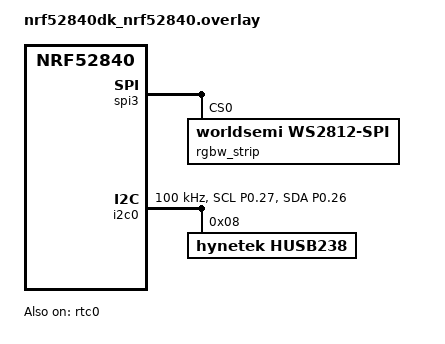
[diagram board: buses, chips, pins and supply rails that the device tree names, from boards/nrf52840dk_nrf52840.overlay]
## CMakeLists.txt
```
cmake_minimum_required(VERSION 3.20.0)

list(APPEND EXTRA_ZEPHYR_MODULES
  ${CMAKE_CURRENT_SOURCE_DIR}/../custom_sk6812
  ${CMAKE_CURRENT_SOURCE_DIR}/../husb238
)

find_package(Zephyr REQUIRED HINTS $ENV{ZEPHYR_BASE})

project(app LANGUAGES C)

target_sources(app PRIVATE src/main.c src/led_strip_service.c src/led_anim_thread.c)
zephyr_library_include_directories(.)
```

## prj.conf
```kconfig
CONFIG_GPIO=y
CONFIG_SPI=y
CONFIG_LOG=y
CONFIG_I2C=y
# CONFIG_LED_STRIP=y
CONFIG_RGBW_STRIP=y
# CONFIG_LED_STRIP_LOG_LEVEL_DBG=y

# Button and LED library
CONFIG_DK_LIBRARY=y

# Floating Point Unit
CONFIG_FPU=y

# Bluetooth LE
CONFIG_BT=y
CONFIG_BT_PERIPHERAL=y
CONFIG_BT_DEVICE_NAME="test123"
CONFIG_BT_GATT_CLIENT=y

# Bluetooth Connection Parameters
CONFIG_BT_PERIPHERAL_PREF_MIN_INT=800
CONFIG_BT_PERIPHERAL_PREF_MAX_INT=800
CONFIG_BT_PERIPHERAL_PREF_LATENCY=0
CONFIG_BT_PERIPHERAL_PREF_TIMEOUT=400
CONFIG_BT_GAP_AUTO_UPDATE_CONN_PARAMS=y
CONFIG_BT_USER_PHY_UPDATE=y

# Bluetooth LE Monitor Mode Debugging
CONFIG_CORTEX_M_DEBUG_MONITOR_HOOK=y
CONFIG_SEGGER_DEBUGMON=y

# Coredump config
CONFIG_DEBUG_COREDUMP=y
CONFIG_DEBUG_COREDUMP_BACKEND_LOGGING=y

# Add LBS service
CONFIG_BT_LBS=y

# Increase stack size for the main thread, System Workqueue, BT RX thread and TX buf count
CONFIG_MAIN_STACK_SIZE=4096
CONFIG_SYSTEM_WORKQUEUE_STACK_SIZE=4096
CONFIG_BT_RX_STACK_SIZE=2048
CONFIG_BT_BUF_CMD_TX_COUNT=2


# Enable **psuedorandom** number generator for testing purposes
CONFIG_TEST_RANDOM_GENERATOR=y
```

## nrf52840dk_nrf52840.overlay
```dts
// To get started, press Ctrl+Space to bring up the completion menu and view the available nodes.

// You can also use the buttons in the sidebar to perform actions on nodes.
// Actions currently available include:

// * Enabling / disabling the node
// * Adding the bus to a bus
// * Removing the node
// * Connecting ADC channels

// For more help, browse the DeviceTree documentation at https://docs.zephyrproject.org/latest/guides/dts/index.html
// You can also visit the nRF DeviceTree extension documentation at https://docs.nordicsemi.com/bundle/nrf-connect-vscode/page/guides/ncs_configure_app.html#devicetree-support-in-the-extension

#include <zephyr/dt-bindings/led/led.h>

#include "nrf_bindings.h"

&spi0 {
	// led_strip: ws2812-spi@0 {
	// 	compatible = "worldsemi,ws2812-spi";

    //     /* SPI */
	// 	reg = <0>; /* ignored, but necessary for SPI bindings */
	// 	spi-max-frequency = <SPI_FREQ>;

	// 	/* WS2812 */
	// 	chain-length = <16>; /* arbitrary; change at will */
	// 	spi-one-frame = <ONE_FRAME>;    //  dependent on SPI frequency
	// 	spi-zero-frame = <ZERO_FRAME>;  // and desired duty cycle

    //     // Define subpixel layout of RGB LED, typically GRB
    //     // Allows for application to only send RGB values, and have devicetree implementation
    //     //  figure out subpixel layout separately  
    //     color-mapping = <LED_COLOR_ID_GREEN 
    //         LED_COLOR_ID_RED
    //         LED_COLOR_ID_BLUE>;
	// };

    // rgbw_strip: ws2812-spi@0 {
    //     compatible = "worldsemi,ws2812-spi";

    //     reg = <0>;
    //     spi-max-frequency = <SPI_FREQ>;

    //     /* SK6812 */
    //     chain-length = <72>;
    //     spi-one-frame = <ONE_FRAME>;
    //     spi-zero-frame = <ZERO_FRAME>;

    //     /* Subpixel layout of SK6812 */
    //     color-mapping = <LED_COLOR_ID_GREEN
    //                      LED_COLOR_ID_RED
    //                      LED_COLOR_ID_BLUE
    //                      LED_COLOR_ID_WHITE>;
    // };

	status = "disabled";    // Enable SPI device
};

/ {
    aliases 
    {
        rgbw-strip = &rgbw_strip;
    };
};
&spi1 {
	status = "disabled";
};

&spi3 {
    rgbw_strip: ws2812-spi@0 {
        compatible = "worldsemi,ws2812-spi";

        reg = <0>;
        spi-max-frequency = <SPI_FREQ>;

        /* SK6812 */
        chain-length = <72>;
        spi-one-frame = <ONE_FRAME>;
        spi-zero-frame = <ZERO_FRAME>;

        /* Subpixel layout of SK6812 */
        color-mapping = <LED_COLOR_ID_GREEN
                         LED_COLOR_ID_RED
                         LED_COLOR_ID_BLUE
                         LED_COLOR_ID_WHITE>;
    };

	status = "okay";
};

&rtc0 {
    status = "okay";
};
```

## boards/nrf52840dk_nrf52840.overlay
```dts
// To get started, press Ctrl+Space to bring up the completion menu and view the available nodes.

// You can also use the buttons in the sidebar to perform actions on nodes.
// Actions currently available include:

// * Enabling / disabling the node
// * Adding the bus to a bus
// * Removing the node
// * Connecting ADC channels

// For more help, browse the DeviceTree documentation at https://docs.zephyrproject.org/latest/guides/dts/index.html
// You can also visit the nRF DeviceTree extension documentation at https://docs.nordicsemi.com/bundle/nrf-connect-vscode/page/guides/ncs_configure_app.html#devicetree-support-in-the-extension

#include <zephyr/dt-bindings/led/led.h>

#include "nrf_bindings.h"

&spi0 {
	// led_strip: ws2812-spi@0 {
	// 	compatible = "worldsemi,ws2812-spi";

    //     /* SPI */
	// 	reg = <0>; /* ignored, but necessary for SPI bindings */
	// 	spi-max-frequency = <SPI_FREQ>;

	// 	/* WS2812 */
	// 	chain-length = <16>; /* arbitrary; change at will */
	// 	spi-one-frame = <ONE_FRAME>;    //  dependent on SPI frequency
	// 	spi-zero-frame = <ZERO_FRAME>;  // and desired duty cycle

    //     // Define subpixel layout of RGB LED, typically GRB
    //     // Allows for application to only send RGB values, and have devicetree implementation
    //     //  figure out subpixel layout separately  
    //     color-mapping = <LED_COLOR_ID_GREEN 
    //         LED_COLOR_ID_RED
    //         LED_COLOR_ID_BLUE>;
	// };

    // rgbw_strip: ws2812-spi@0 {
    //     compatible = "worldsemi,ws2812-spi";

    //     reg = <0>;
    //     spi-max-frequency = <SPI_FREQ>;

    //     /* SK6812 */
    //     chain-length = <72>;
    //     spi-one-frame = <ONE_FRAME>;
    //     spi-zero-frame = <ZERO_FRAME>;

    //     /* Subpixel layout of SK6812 */
    //     color-mapping = <LED_COLOR_ID_GREEN
    //                      LED_COLOR_ID_RED
    //                      LED_COLOR_ID_BLUE
    //                      LED_COLOR_ID_WHITE>;
    // };

	status = "disabled";    // Enable SPI device
};

/ {
    aliases 
    {
        rgbw-strip = &rgbw_strip;
    };
};
&spi1 {
	status = "disabled";
};

&spi3 {
    rgbw_strip: ws2812-spi@0 {
        compatible = "worldsemi,ws2812-spi";

        reg = <0>;
        spi-max-frequency = <SPI_FREQ>;

        /* SK6812 */
        chain-length = <72>;
        spi-one-frame = <ONE_FRAME>;
        spi-zero-frame = <ZERO_FRAME>;

        /* Subpixel layout of SK6812 */
        color-mapping = <LED_COLOR_ID_GREEN
                         LED_COLOR_ID_RED
                         LED_COLOR_ID_BLUE
                         LED_COLOR_ID_WHITE>;
    };

	status = "okay";
};

&rtc0 {
    status = "okay";
};

&i2c0 {
    status = "okay";
    compatible = "nordic,nrf-twim";

    pinctrl-0 = <&i2c0_default>;
    pinctrl-1 = <&i2c0_sleep>;
    pinctrl-names = "default", "sleep";

    husb238: husb238@8 {
        compatible = "hynetek,husb238";
        status = "okay";
        reg = <0x8>;
    };

    clock-frequency = <I2C_BITRATE_STANDARD>;
};

&pinctrl {
	/omit-if-no-ref/ i2c0_default: i2c0_default {

        group2 {
            psels = <NRF_PSEL(TWIM_SCL, 0, 27)>;
            bias-pull-up;
            nordic,invert;
        };

        group1 {
            psels = <NRF_PSEL(TWIM_SDA, 0, 26)>;
            nordic,invert;
            bias-pull-up;
        };
	};

	/omit-if-no-ref/ i2c0_sleep: i2c0_sleep {
		group1  {
			psels = <NRF_PSEL(TWIM_SCL, 0, 27)>;
			bias-pull-up;
            nordic,invert;
			low-power-enable;
		};

		group2 {
            psels = <NRF_PSEL(TWIM_SDA, 0, 26)>;
            bias-pull-up;
            nordic,invert;
			low-power-enable;
        };
	};
};
```

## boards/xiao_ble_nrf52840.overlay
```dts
#include <zephyr/dt-bindings/led/led.h>
#include "nrf_bindings.h"

&spi2 {
	status = "okay";    // Enable SPI device
	compatible = "nordic,nrf-spim"; // Use SPIM driver for EasyDMA

	rgbw_strip: ws2812-spi@0 {
		compatible = "worldsemi,ws2812-spi";

		reg = <0>;
		spi-max-frequency = <SPI_FREQ>;

		/* SK6812 */
		chain-length = <72>;
		spi-one-frame = <ONE_FRAME>;
		spi-zero-frame = <ZERO_FRAME>;

		/* Subpixel layout of SK6812 */
		color-mapping = <LED_COLOR_ID_GREEN
				 LED_COLOR_ID_RED
				 LED_COLOR_ID_BLUE
				 LED_COLOR_ID_WHITE>;
	};
};


/ {
	aliases {
		rgbw-strip = &rgbw_strip;
	};
};

&rtc0 {
	status = "okay";
};

&i2c1 {
	status = "okay";
	compatible = "nordic,nrf-twim";

	husb238: husb238@8 {
		compatible = "hynetek,husb238";
		status = "okay";
		reg = <0x8>;
	};

	clock-frequency = <I2C_BITRATE_STANDARD>;
};

&qspi {
	status = "disabled";
};

&ieee802154 {
	status = "disabled";
};

&reg0 {
	status = "disabled";
};

&pwm0 {
	status = "disabled";
};
```

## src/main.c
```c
#include <errno.h>
#include <string.h>

#define LOG_LEVEL 4
#include <zephyr/logging/log.h>
LOG_MODULE_REGISTER(main);

#include <rgbw_strip.h>				// RGBW strip driver
#include <husb238.h>                
// #include <zephyr/drivers/led_strip.h>
#include <zephyr/device.h>
#include <zephyr/drivers/spi.h>
#include <zephyr/drivers/i2c.h>
#include <zephyr/sys/util.h>

#include <zephyr/bluetooth/bluetooth.h>
#include <zephyr/bluetooth/uuid.h>
#include <zephyr/bluetooth/conn.h>	// BLE connections
#include <zephyr/random/random.h>
#include <zephyr/debug/coredump.h>

#include <bluetooth/services/lbs.h> // LED button service


#include <dk_buttons_and_leds.h>
#include "led_strip_service.h"
#include "led_anim_thread.h"

#define USER_BUTTON				DK_BTN1_MSK
#define CONNECTION_STATUS_LED   DK_LED2

#define DELAY_TIME K_MSEC(1000)

static const struct i2c_dt_spec husb238_i2c = I2C_DT_SPEC_GET(DT_NODELABEL(husb238));

struct bt_conn *my_conn = NULL;
static struct k_work adv_work;

extern struct k_msgq led_message_queue; 

extern bool no_white_component;
extern bool dither_enabled;

// static int index;

static const struct bt_le_adv_param *adv_param = BT_LE_ADV_PARAM(
	(BT_LE_ADV_OPT_CONN |
	 BT_LE_ADV_OPT_USE_IDENTITY), /* Connectable advertising and use identity address */
	BT_GAP_ADV_FAST_INT_MIN_1, /* 0x30 units, 48 units, 30ms */
	BT_GAP_ADV_FAST_INT_MAX_1, /* 0x60 units, 96 units, 60ms */
	NULL); /* Set to NULL for undirected advertising */

#define DEVICE_NAME CONFIG_BT_DEVICE_NAME
#define DEVICE_NAME_LEN (sizeof(DEVICE_NAME) - 1)

static const struct bt_data ad[] = {
	BT_DATA_BYTES(BT_DATA_FLAGS, (BT_LE_AD_GENERAL | BT_LE_AD_NO_BREDR)),
	BT_DATA(BT_DATA_NAME_COMPLETE, DEVICE_NAME, DEVICE_NAME_LEN),
};

static const struct bt_data sd[] = {
	BT_DATA_BYTES(BT_DATA_UUID128_ALL,
			  BT_UUID_128_ENCODE(0x00001523, 0x1212, 0xefde, 0x1523, 0x785feabcd123)),
};

static void adv_work_handler(struct k_work *work)
{
	int err = bt_le_adv_start(adv_param, ad, ARRAY_SIZE(ad), sd, ARRAY_SIZE(sd));

	if (err) {
		LOG_ERR("Advertising failed to start (err %d)", err);
		return;
	}

	LOG_INF("Advertising successfully started");
}

static void advertising_start(void)
{
	k_work_submit(&adv_work);
}

static void fade_color(const led_rgbw *new_color, const uint32_t duration)
{
	k_msgq_put(&led_message_queue, &(struct led_msg){
		.new_rgbw = *new_color,
		.params = LED_PARAM_COLOR | LED_PARAM_DURATION,
		.command = FADE,
		.duration = duration,
	}, K_NO_WAIT);
}

static void set_color_rgbw(const led_rgbw *new_color)
{
	k_msgq_put(&led_message_queue, &(struct led_msg){
		.new_rgbw = *new_color,
		.params = LED_PARAM_COLOR,
		.command = SET,
		// .duration = 10000,
	}, K_NO_WAIT);
}

static void set_brightness(const uint8_t *new_brightness)
{
	k_msgq_put(&led_message_queue, &(struct led_msg){
		.new_brightness = *new_brightness,
		.params = LED_PARAM_BRIGHTNESS,
		.command = SET,
	}, K_NO_WAIT);
}

static void update_phy(struct bt_conn *conn)
{
    int err;
    const struct bt_conn_le_phy_param preferred_phy = {
        .options = BT_CONN_LE_PHY_OPT_NONE,
        .pref_rx_phy = BT_GAP_LE_PHY_2M,
        .pref_tx_phy = BT_GAP_LE_PHY_2M,
    };
    err = bt_conn_le_phy_update(conn, &preferred_phy);
    if (err) {
        LOG_ERR("bt_conn_le_phy_update() returned %d", err);
    }
}

void on_connected(struct bt_conn *conn, uint8_t err)
{
	if (err) {
		LOG_ERR("Connection error %d", err);
		return;
	}

	LOG_INF("Connected");
	my_conn = bt_conn_ref(conn);

	dk_set_led(CONNECTION_STATUS_LED, 1);

	struct bt_conn_info info;
	err = bt_conn_get_info(conn, &info);
	if (err) {
		LOG_ERR("bt_conn_get_info() returned %d", err);
		return;
	}

	double connection_interval = BT_CONN_INTERVAL_TO_MS(info.le.interval); // in ms
	uint16_t supervision_timeout = info.le.timeout*10; // in ms
	LOG_INF("Connection parameters: interval %.2f ms, latency %d intervals, timeout %d ms", connection_interval, info.le.latency, supervision_timeout);
	
	update_phy(my_conn);
}

void on_disconnected(struct bt_conn *conn, uint8_t reason)
{
	LOG_INF("Disconnected. Reason %d", reason);
	bt_conn_unref(my_conn);

	/* STEP 3.3  Turn the connection status LED off */
	dk_set_led(CONNECTION_STATUS_LED, 0);
}

void on_recycled(void)
{
	advertising_start();
}

void on_le_param_updated(struct bt_conn *conn, uint16_t interval,
				 uint16_t latency, uint16_t timeout)
{
    double connection_interval = interval*1.25;         // in ms
    uint16_t supervision_timeout = timeout*10;          // in ms
    LOG_INF("Connection parameters updated: interval %.2f ms, latency %d intervals, timeout %d ms", connection_interval, latency, supervision_timeout);
}

void on_le_phy_updated(struct bt_conn *conn, struct bt_conn_le_phy_info *param)
{
    // PHY Updated
    if (param->tx_phy == BT_CONN_LE_TX_POWER_PHY_1M) {
        LOG_INF("PHY updated. New PHY: 1M");
    }
    else if (param->tx_phy == BT_CONN_LE_TX_POWER_PHY_2M) {
        LOG_INF("PHY updated. New PHY: 2M");
    }
    else if (param->tx_phy == BT_CONN_LE_TX_POWER_PHY_CODED_S8) {
        LOG_INF("PHY updated. New PHY: Long Range");
    }
}

/* BLE connection callbacks*/
struct bt_conn_cb connection_callbacks = {
    .connected              = on_connected,
    .disconnected           = on_disconnected,
    .recycled               = on_recycled,
	.le_param_updated       = on_le_param_updated,
	.le_phy_updated         = on_le_phy_updated,
};

struct my_lss_cb lss_callbacks = {
	.fade_cb = fade_color,
	.color_cb = set_color_rgbw,
	.brightness_cb = set_brightness,
};

/* Callback handler for when button is pressed*/
static void button_changed(uint32_t button_state, uint32_t has_changed)
{
	int err;
	bool user_button_changed = (has_changed & USER_BUTTON) ? true : false;
	bool user_button_pressed = (button_state & USER_BUTTON) ? true : false;
	if (user_button_changed) {
		LOG_INF("Button %s", (user_button_pressed ? "pressed" : "released"));
		if (user_button_pressed)
		{
			k_msgq_put(&led_message_queue, &(struct led_msg){
				.new_rgbw = (led_rgbw){
					.r = sys_rand8_get(),
					.g = sys_rand8_get(),
					.b = sys_rand8_get(),
					.w = sys_rand8_get(),
				},
				.command = FADE,
				.params = LED_PARAM_COLOR | LED_PARAM_DURATION,
				.duration = 1000
			}, K_NO_WAIT);
		}		
		err = bt_lbs_send_button_state(user_button_pressed);
		if (err) {
			LOG_ERR("Couldn't send notification. (err: %d)", err);
		}
	}

	if (button_state & DK_BTN2_MSK)
	{
		// no_white_component = !no_white_component; // Toggle white component on/off with second button
		// dither_enabled = !dither_enabled; // Toggle dithering on/off with second button
		// LOG_INF("Dithering %s", (dither_enabled ? "enabled" : "disabled"));
		// k_msgq_put(&led_message_queue, &(struct led_msg){
		// 	.new_brightness = 0x7f,
		// 	.params = LED_PARAM_BRIGHTNESS,
		// 	.command = SET,
		// }, K_FOREVER);
		// static uint8_t src_pdos[6];
		// husb238_get_src_capabilities(&husb238_i2c, src_pdos, 6);
		// husb238_print_src_capabilities(src_pdos, 6);
	}

	if (button_state & DK_BTN3_MSK) // If button state changed and button is now released, toggle white component on/off
	{
		// switch (index)
		// {
		// 	case 0:
		// 		set_color_rgbw(&(led_rgbw){.r = 0xff, .g = 0x00, .b = 0x00, .w = 0x00});
		// 		break;
		// 	case 1:
		// 		set_color_rgbw(&(led_rgbw){.r = 0x00, .g = 0xff, .b = 0x00, .w = 0x00});
		// 		break;
		// 	case 2:
		// 		set_color_rgbw(&(led_rgbw){.r = 0x00, .g = 0x00, .b = 0xff, .w = 0x00});
		// 		break;
		// 	case 3:
		// 		set_color_rgbw(&(led_rgbw){.r = 0x00, .g = 0x00, .b = 0x00, .w = 0xff});
		// 		break;
		// 	default:
		// 		break;
		// }
		// index = (index + 1) % 4;
		k_msgq_put(&led_message_queue, &(struct led_msg){
				.new_rgbw = (led_rgbw){
					.r = 0x00,
					.g = 0x00,
					.b = 0x00,
					.w = 0x00,
				},
				.command = SET,
				.params = LED_PARAM_COLOR,
		}, K_NO_WAIT);

		k_sleep(K_MSEC(1000));

		k_msgq_put(&led_message_queue, &(struct led_msg){
			.new_rgbw = (led_rgbw){
				.r = 0x19,
				.g = 0x19,
				.b = 0x19,
				.w = 0x19,
			},
			.command = FADE,
			.params = LED_PARAM_COLOR | LED_PARAM_DURATION,
			.duration = 10000
		}, K_NO_WAIT);

	}
}

static int init_button(void)
{
	int err = 0;
	err = dk_buttons_init(button_changed);
	if (err) {
		LOG_ERR("Cannot init buttons (err: %d)", err);
	}

	return err;
}

int main()
{
	// int rc;
	int err;

	////
	// Initializers
	////
	
	/* Initialize DK LEDs*/
	err = dk_leds_init();
	if (err)
	{
		LOG_ERR("LEDs init failed (err %d)", err);
		return -1;
	}

	/* Initialize DK buttons */
	err = init_button();
	if (err)
	{
		LOG_ERR("Button init failed (err %d)", err);
	}

	/* Register BLE connection callbacks */
	err = bt_conn_cb_register(&connection_callbacks);
	if (err) {
		LOG_ERR("Connection callback register failed (err %d)", err);
	}

	/* Enable BT */
	err = bt_enable(NULL);
	if (err) {
		LOG_ERR("Bluetooth init failed (err %d)", err);
		return -1;
	}
	LOG_INF("Bluetooth initialized");

	/* Initialize the LED Strip Service */
	err = my_lss_init(&lss_callbacks);
	if (err) {
		LOG_ERR("Failed to initialize LSS (err %d)", err);
	}

	// husb238_init(husb238_i2c);
	if (!device_is_ready(husb238_i2c.bus))
	{
		LOG_ERR("I2C bus %s is not ready!\n\r",husb238_i2c.bus->name);
		return -1;
	}
	else
	{
		LOG_INF("I2C bus %s ready\n\r", husb238_i2c.bus->name);
	}

	/* Assign advertising start to a work unit*/
	k_work_init(&adv_work, adv_work_handler); // Init work structure prior to submitting work
	advertising_start();

	uint8_t src_pdos[6];
	husb238_status0 pd_src_cap = {0};
	int ret;
	husb238_pd_src_voltage pdo_req = HUSB238_VOLTAGE_5V;
	while (1) {
		// dk_set_led(DK_LED1, 1);
		// k_sleep(DELAY_TIME);
		// dk_set_led(DK_LED1, 0);
		// k_sleep(DELAY_TIME);
		ret = husb238_request_pdo(&husb238_i2c, pdo_req);
		if (ret < 0)
		{
			LOG_ERR("Error requesting PDO");
			k_sleep(K_MSEC(1000));
			continue;
		}

		k_sleep(K_MSEC(500)); // Wait for the PD contract to be established before requesting capabilities and contract details

		// ret = husb238_get_src_capabilities(&husb238_i2c, src_pdos, 6);
		// // ret = husb238_get_pd_contract(&husb238_i2c, &pd_src_cap);
		// if (ret < 0)
		// {
		// 	LOG_ERR("Error getting source capability");
		// 	k_sleep(K_MSEC(1000));
		// 	continue;
		// }

		ret = husb238_get_pd_contract(&husb238_i2c, &pd_src_cap);
		if (ret < 0)
		{
			LOG_ERR("Error getting PD contract");
			k_sleep(K_MSEC(1000));
			continue;
		}

		// ret = husb238_print_src_capabilities(src_pdos, 6);
		// if (ret < 0)
		// {
		// 	LOG_ERR("Error printing source capability");
		// 	k_sleep(K_MSEC(1000));
		// 	continue;
		// }

		husb238_print_pd_contract(pd_src_cap);
		// pdo_req++;
		// if (pdo_req > HUSB238_VOLTAGE_20V) pdo_req = HUSB238_VOLTAGE_5V;
		k_sleep(K_MSEC(2000));
	}

    return 0;
}

K_THREAD_DEFINE(led_anim_thread_id, 1024, led_anim_thread, NULL, NULL, NULL, 1, 0, 0);
```

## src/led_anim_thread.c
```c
#define LOG_LEVEL 4
#include <zephyr/logging/log.h>
LOG_MODULE_REGISTER(led_anim_thread);

#include <zephyr/kernel.h>
#include <zephyr/device.h>
#include <zephyr/sys/util.h>
#include <stdlib.h>

#include <rgbw_strip.h>
#include "led_anim_thread_internal.h"

#define STRIP_NODE		DT_ALIAS(rgbw_strip)
#define STRIP_NUM_PIXELS	DT_PROP(DT_ALIAS(rgbw_strip), chain_length)
#define CURSOR_SIZE     12

#define RGB(_r, _g, _b) { .r = (_r), .g = (_g), .b = (_b)}
#define RGBW(_r, _g, _b, _w) { .r = (_r), .g = (_g), .b = (_b) , .w = (_w)}
#define CAN_DITHER(channel) (rgbw_16_int(##channel##) < DITHER_THRESHOLD && current_state == DITHERING && dither_enabled)

#define FRAME_MS 16 // 60fps = 16.67ms
#define MAX_DURATION 30000 // Maximum duration for fade animation; 30 seconds
#define DITHER_THRESHOLD 30 // Color value threshold where dithering is applied

static const struct device *strip = DEVICE_DT_GET(STRIP_NODE);

static const uint16_t gamma_table[256] = {
    0,     0,     1,     3,     7,    11,    17,    24,
   32,    41,    52,    65,    78,    93,   110,   128,
  148,   169,   192,   216,   242,   269,   298,   329,
  361,   395,   431,   468,   507,   548,   591,   635,
  681,   729,   778,   829,   882,   937,   994,  1052,
 1113,  1175,  1239,  1305,  1373,  1442,  1514,  1587,
 1662,  1739,  1818,  1899,  1982,  2067,  2154,  2243,
 2333,  2426,  2521,  2617,  2716,  2817,  2919,  3024,
 3130,  3239,  3350,  3462,  3577,  3694,  3813,  3934,
 4057,  4182,  4309,  4438,  4569,  4702,  4838,  4975,
 5115,  5257,  5401,  5546,  5695,  5845,  5997,  6152,
 6308,  6467,  6628,  6791,  6956,  7124,  7294,  7465,
 7639,  7815,  7994,  8174,  8357,  8542,  8729,  8919,
 9110,  9304,  9500,  9699,  9899, 10102, 10307, 10514,
10724, 10935, 11150, 11366, 11584, 11805, 12028, 12254,
12481, 12711, 12944, 13178, 13415, 13654, 13896, 14140,
14386, 14634, 14885, 15138, 15393, 15651, 15911, 16174,
16438, 16705, 16975, 17247, 17521, 17797, 18076, 18357,
18641, 18927, 19215, 19506, 19799, 20095, 20393, 20693,
20996, 21301, 21608, 21918, 22231, 22545, 22862, 23182,
23504, 23828, 24155, 24484, 24816, 25150, 25487, 25826,
26167, 26511, 26857, 27206, 27557, 27911, 28267, 28626,
28987, 29351, 29717, 30085, 30456, 30830, 31206, 31584,
31965, 32349, 32735, 33123, 33514, 33907, 34303, 34702,
35103, 35506, 35912, 36321, 36732, 37145, 37561, 37980,
38401, 38825, 39251, 39680, 40111, 40545, 40981, 41420,
41862, 42306, 42753, 43202, 43653, 44108, 44565, 45024,
45486, 45951, 46418, 46888, 47360, 47835, 48312, 48792,
49275, 49760, 50248, 50738, 51232, 51727, 52225, 52726,
53230, 53736, 54245, 54756, 55270, 55786, 56305, 56827,
57352, 57879, 58408, 58941, 59476, 60013, 60553, 61096,
61642, 62190, 62741, 63294, 63850, 64409, 64970, 65535,
};

// static led_hsv current_hsv;             // User-selected color in HSV
led_rgbw base_rgbw = {0};                      // User-selected color in RGBW
static uint8_t master_brightness = 0xff;       // Global brightness scaler, applied to final RGBW output

bool dither_enabled = true;                 // Flag to enable/disable dithering globally; true: dithering enabled, false: dithering disabled (all colors treated as above threshold)
bool no_white_component = false;         // Flag to indicate use of white component; true: RGB only, false: RGBW with white component extracted from RGB values  
static dither_state current_state;         
static led_command current_command;

// static led_rgbw current_color;          // Current color being displayed on the strip
static led_rgbw_16 base_rgbw_16; // Base color scaled by master brightness and gamma corrected, pre-dithered for dithering if enabled

static int64_t start_time, elapsed_time;

static int64_t frame_time, total_frame_time;
static int64_t frames = 0;

K_MSGQ_DEFINE(led_message_queue, sizeof(struct led_msg), 10, 1); // Why alignment?

void led_anim_thread(void *arg1, void *arg2, void *arg3)
{
    /* Initialize RGBW strip*/
	if (device_is_ready(strip))
	{
		LOG_INF("Found LED strip device %s", strip->name);
	} 
    else
	{
		LOG_ERR("LED strip device %s is not ready", strip->name);
		return;
	}
    // current_state = STATIC;
    // current_command = NONE;
    // current_color = (led_rgbw) RGBW(0, 0, 0, 0);
    // update_rgbw_strip();
    k_msgq_put(&led_message_queue, &(struct led_msg){
        .new_rgbw = (led_rgbw) RGBW(0, 0, 0, 0),
        .command = SET,
        .params = LED_PARAM_COLOR,
    }, K_FOREVER);

    led_rgbw_16 start_color_16 = {0};
    led_rgbw_16 linear_rgbw_16, gamma_rgbw_16;
    led_msg msg; 
    uint32_t duration_ms = 0;
   
    while (1)
    {

        /* Wait indefinitely for a message if static, otherwise wait for frame duration */
        int rc = k_msgq_get(&led_message_queue, &msg, (current_state == STATIC && current_command == NONE && !dither_enabled) ? K_FOREVER : K_NO_WAIT);
        // int rc = k_msgq_get(&led_message_queue, &msg, K_NO_WAIT);
        
        if (rc == 0)
        {   
            if (msg.command != NONE)
            {
                current_command = msg.command;
            }
            else
            {
                LOG_WRN("Received message with no command, ignoring");
                continue;
            }

            switch(current_command)
            {
                case NONE:
                    LOG_INF("Received message with no command, ignoring");
                    continue;

                case FADE:
                    if (msg.params & LED_PARAM_DURATION)
                    {
                        if (msg.duration <= FRAME_MS)
                        {
                            LOG_WRN("Requested fade duration %ums is less than frame duration %ums, setting to 0 (instantaneous)", msg.duration, FRAME_MS);
                            duration_ms = 0;
                            current_command = SET;
                        }
                        else if (msg.duration > MAX_DURATION)
                        {
                            duration_ms = MAX_DURATION;
                            LOG_WRN("Requested fade duration %ums exceeds maximum of %ums, capping to maximum", msg.duration, MAX_DURATION);
                        }
                        else
                        {
                            duration_ms = msg.duration;
                        }
                    }
                    // Fade falls through to SET to update color and brightness values
                case SET:
                    if (msg.params & LED_PARAM_BRIGHTNESS)
                    {
                        /* Temporarily disabled to allow for manual refresh */
                        // if (msg.new_brightness == master_brightness)
                        // {
                        //     LOG_INF("Brightness unchanged at %d, skipping update", msg.new_brightness);
                        //     continue; // No change in brightness, skip
                        // }
                        // LOG_INF("Updating master brightness to %d", msg.new_brightness);
                        master_brightness = msg.new_brightness;
                    }

                    if (msg.params & LED_PARAM_COLOR)
                    {
                        if (memcmp(&base_rgbw, &msg.new_rgbw, sizeof(led_rgbw)) == 0)
                        {
                            continue; // No change in color, skip
                        }
                        base_rgbw = msg.new_rgbw;
                    }
                    break;                   
            }


            scale_brightness_16(&linear_rgbw_16, &base_rgbw, master_brightness);
            gamma_correct_16(&gamma_rgbw_16, &linear_rgbw_16);
            // rgb2rgbw(&linear_rgbw_16, &new_color);

            start_color_16 = base_rgbw_16; // Set start color for animation to current color on strip
            start_time = k_uptime_get();
            total_frame_time = 0;
            frames = 0;

            LOG_INF("Starting color: R=%d.%02d, G=%d.%02d, B=%d.%02d, W=%d.%02d",
                    rgbw_16_int(start_color_16.r_16), rgbw_16_frac(start_color_16.r_16),
                    rgbw_16_int(start_color_16.g_16), rgbw_16_frac(start_color_16.g_16),
                    rgbw_16_int(start_color_16.b_16), rgbw_16_frac(start_color_16.b_16),
                    rgbw_16_int(start_color_16.w_16), rgbw_16_frac(start_color_16.w_16));
            LOG_INF("Base color: R=%d, G=%d, B=%d, W=%d", base_rgbw.r, base_rgbw.g, base_rgbw.b, base_rgbw.w);
            LOG_INF("Corrected color: R=%d.%02d, G=%d.%02d, B=%d.%02d, W=%d.%02d, brightness: %d, duration: %ums",
                    rgbw_16_int(gamma_rgbw_16.r_16), rgbw_16_frac(gamma_rgbw_16.r_16),
                    rgbw_16_int(gamma_rgbw_16.g_16), rgbw_16_frac(gamma_rgbw_16.g_16),
                    rgbw_16_int(gamma_rgbw_16.b_16), rgbw_16_frac(gamma_rgbw_16.b_16),
                    rgbw_16_int(gamma_rgbw_16.w_16), rgbw_16_frac(gamma_rgbw_16.w_16),
                    master_brightness, duration_ms);

            if (current_command == FADE)
            {
                LOG_INF("Starting fade animation, duration: %ums", duration_ms);
            }

        }


        if ((rgbw_16_int(gamma_rgbw_16.r_16) <= DITHER_THRESHOLD || rgbw_16_int(gamma_rgbw_16.g_16) <= DITHER_THRESHOLD ||
             rgbw_16_int(gamma_rgbw_16.b_16) <= DITHER_THRESHOLD || rgbw_16_int(gamma_rgbw_16.w_16) <= DITHER_THRESHOLD) 
             && dither_enabled)
        {
            current_state = DITHERING;
        }
        else
        {
            current_state = STATIC;
        }

        frame_time = k_uptime_get();

        switch (current_command)
        {
            case SET:
                memcpy(&base_rgbw_16, &gamma_rgbw_16, sizeof(led_rgbw_16));
                current_command = NONE;
                break;
            case FADE:
                elapsed_time = k_uptime_get() - start_time;
                // k_sleep(K_MSEC(50));

                if (elapsed_time >= duration_ms)
                {
                    elapsed_time = duration_ms; // Cap elapsed time to duration
                    base_rgbw_16 = gamma_rgbw_16; // Ensure final color is set at end of fade
                    current_command = NONE;
                    LOG_INF("Fade complete, duration: %lldms", elapsed_time);
                    // LOG_INF("Fade complete, start color: R=%d, G=%d, B=%d, W=%d", start_color.r, start_color.g, start_color.b, start_color.w);
                    // LOG_INF("Fade complete, original new color: R=%d, G=%d, B=%d, W=%d", new_color.r, new_color.g, new_color.b, new_color.w);
                    // LOG_INF("Fade complete, final color: R=%d, G=%d, B=%d, W=%d", current_color.r, current_color.g, current_color.b, current_color.w);
                    break;
                }

                if(frames % 10 == 0)
                {
                    LOG_INF("Fading... elapsed time: %lldms", elapsed_time);
                }
                base_rgbw_16.r_16 = start_color_16.r_16 + (((int)gamma_rgbw_16.r_16 - (int)start_color_16.r_16) * elapsed_time) / (int64_t)duration_ms;
                base_rgbw_16.g_16 = start_color_16.g_16 + (((int)gamma_rgbw_16.g_16 - (int)start_color_16.g_16) * elapsed_time) / (int64_t)duration_ms;
                base_rgbw_16.b_16 = start_color_16.b_16 + (((int)gamma_rgbw_16.b_16 - (int)start_color_16.b_16) * elapsed_time) / (int64_t)duration_ms;
                base_rgbw_16.w_16 = start_color_16.w_16 + (((int)gamma_rgbw_16.w_16 - (int)start_color_16.w_16) * elapsed_time) / (int64_t)duration_ms;

                // current_color.r = start_color.r + (((int)new_color.r - (int)start_color.r) * elapsed_time) / duration_ms;
                // current_color.g = start_color.g + (((int)new_color.g - (int)start_color.g) * elapsed_time) / duration_ms;
                // current_color.b = start_color.b + (((int)new_color.b - (int)start_color.b) * elapsed_time) / duration_ms;
                // current_color.w = start_color.w + (((int)new_color.w - (int)start_color.w) * elapsed_time) / duration_ms;


                // LOG_INF("Current color during fade: R=%d, G=%d, B=%d, W=%d, elapsed_time: %lldms", current_color.r, current_color.g, current_color.b, current_color.w, elapsed_time);
                break;
            default:
                break;
        }


        update_rgbw_strip();

        frames++;
        total_frame_time += k_uptime_get() - frame_time;
        if (frames % 1000 == 0)
        {
            LOG_INF("1000 average frame time: %lld.%03lldms", total_frame_time / 1000, (total_frame_time % 1000));
            frames = 0;
            total_frame_time = 0;
        }
    }
}

static uint32_t fn (const uint8_t h, const int n)
{
    const int kZero = 0 << 8;
    const int kOne  = 1 << 8;
    const int kFour = 4 << 8;
    const int kSix  = 6 << 8;

    const int k = ((n << 8) + 6*h) % kSix;
    const int k2 = kFour - k;
    return MAX(kZero, MIN(kOne, MIN(k, k2)));
}

void hsv2rgb(led_rgbw *rgbw, const led_hsv *hsv)
{
    const uint8_t chroma = (hsv->v * hsv->s) / 255;

    rgbw->r = hsv->v - ((chroma * fn(hsv->h, 5)) >> 8);
    rgbw->g = hsv->v - ((chroma * fn(hsv->h, 3)) >> 8);
    rgbw->b = hsv->v - ((chroma * fn(hsv->h, 1)) >> 8);
    rgbw->w = 0; // No white component in HSV model, set to 0 for now

}

static inline void scale_brightness_16(led_rgbw_16 *scaled_color, const led_rgbw *color, const uint8_t brightness)
{
    if (brightness == 255)
    {
        LOG_INF("Brightness at 255, skipping scaling");
        scaled_color->r_16 = color->r << 8;
        scaled_color->g_16 = color->g << 8;
        scaled_color->b_16 = color->b << 8;
        scaled_color->w_16 = color->w << 8;
        return; // No scaling needed, just shift to 16-bit range
    }
    else if (brightness == 0)
    {
        LOG_INF("Brightness at 0, setting all channels to 0");
        scaled_color->r_16 = 0;
        scaled_color->g_16 = 0;
        scaled_color->b_16 = 0;
        scaled_color->w_16 = 0;
        return; // All channels off
    }

    scaled_color->r_16 = (color->r * brightness);
    scaled_color->g_16 = (color->g * brightness);
    scaled_color->b_16 = (color->b * brightness);
    scaled_color->w_16 = (color->w * brightness);
}

static inline void gamma_correct_16(led_rgbw_16 *corrected_color, const led_rgbw_16 *color)
{
    corrected_color->r_16 = (gamma_table[color->r_16 >> 8]);
    corrected_color->g_16 = (gamma_table[color->g_16 >> 8]);
    corrected_color->b_16 = (gamma_table[color->b_16 >> 8]);
    corrected_color->w_16 = (gamma_table[color->w_16 >> 8]);
}

static void rgb2rgbw(const led_rgbw *rgb, led_rgbw *rgbw)
{
    if (no_white_component && rgb->w == 0) // If white component is disabled and input color has no white component, just copy RGB values and set W to 0
    {
        *rgbw = *rgb; // If no white component, just copy RGB values and set W to 0
        rgbw->w = 0;
        return;
    }

    uint8_t min_component = MIN(rgb->r, MIN(rgb->g, rgb->b));
    rgbw->w = min_component;
    rgbw->r = rgb->r - min_component;
    rgbw->g = rgb->g - min_component;
    rgbw->b = rgb->b - min_component;
}

static void update_rgbw_strip()
{
    static led_rgbw dithered_color; // Color after dithering (if enabled); goes directly to strip
    static led_rgbw pixels[STRIP_NUM_PIXELS];
    static uint8_t dither_accum_r, dither_accum_g, dither_accum_b, dither_accum_w;
	int rc;
	// memset(pixels, 0x00, sizeof(pixels));

    // Need notes on this math
    if (rgbw_16_int(base_rgbw_16.r_16) < DITHER_THRESHOLD && current_state == DITHERING && dither_enabled)
    {
        dithered_color.r = rgbw_16_int(base_rgbw_16.r_16) +
                           ((dither_accum_r += rgbw_16_frac(base_rgbw_16.r_16)) < rgbw_16_frac(base_rgbw_16.r_16));
    }
    else
    {
        dithered_color.r = rgbw_16_int(base_rgbw_16.r_16);
    }

    if (rgbw_16_int(base_rgbw_16.g_16) < DITHER_THRESHOLD && current_state == DITHERING && dither_enabled)
    {
        dithered_color.g = rgbw_16_int(base_rgbw_16.g_16) +
                            ((dither_accum_g += rgbw_16_frac(base_rgbw_16.g_16)) < rgbw_16_frac(base_rgbw_16.g_16));
    }
    else
    {
        dithered_color.g = rgbw_16_int(base_rgbw_16.g_16);
    }

    if (rgbw_16_int(base_rgbw_16.b_16) < DITHER_THRESHOLD && current_state == DITHERING && dither_enabled)
    {
        dithered_color.b = rgbw_16_int(base_rgbw_16.b_16) +
                            ((dither_accum_b += rgbw_16_frac(base_rgbw_16.b_16)) < rgbw_16_frac(base_rgbw_16.b_16));
    }
    else
    {
        dithered_color.b = rgbw_16_int(base_rgbw_16.b_16);
    }

    if (rgbw_16_int(base_rgbw_16.w_16) < DITHER_THRESHOLD && current_state == DITHERING && dither_enabled)
    {
        dithered_color.w = rgbw_16_int(base_rgbw_16.w_16) +
                            ((dither_accum_w += rgbw_16_frac(base_rgbw_16.w_16)) < rgbw_16_frac(base_rgbw_16.w_16));
    }
    else
    {
        dithered_color.w = rgbw_16_int(base_rgbw_16.w_16);
    }

    // if (current_state == DITHERING && dither_enabled)
    // {
    //     LOG_INF("Dithering applied, pre-dither color: R=%d.%02d, G=%d.%02d, B=%d.%02d, W=%d.%02d",
    //             rgbw_16_int(pre_dithered_color_16.r_16), rgbw_16_frac(pre_dithered_color_16.r_16),
    //             rgbw_16_int(pre_dithered_color_16.g_16), rgbw_16_frac(pre_dithered_color_16.g_16),
    //             rgbw_16_int(pre_dithered_color_16.b_16), rgbw_16_frac(pre_dithered_color_16.b_16),
    //             rgbw_16_int(pre_dithered_color_16.w_16), rgbw_16_frac(pre_dithered_color_16.w_16));
    //     LOG_INF("Dithering applied, accumulated error: R=%d, G=%d, B=%d, W=%d", dither_accum_r, dither_accum_g, dither_accum_b, dither_accum_w);
    // }
	// for (size_t i = 0; i < 4; i++)
    // {
    //     if (current_state == DITHERING && dither_enabled)
    //     {
    //         memcpy(&pixels[i], &final_color, sizeof(led_rgbw));
    //     }
    //     else
    //     {
    //         memcpy(&pixels[i], &current_color, sizeof(led_rgbw));
    //     }
	// }
    for (size_t i = 0; i < STRIP_NUM_PIXELS; i++)
    {
        memcpy(&pixels[i], &dithered_color, sizeof(led_rgbw));
    }    
    if (frames % 100 == 0 && current_state == DITHERING && dither_enabled)
    {
        // LOG_INF("Pre-dither color: R=%d.%02d, G=%d.%02d, B=%d.%02d, W=%d.%02d",
        //         rgbw_16_int(pre_dithered_color_16.r_16), rgbw_16_frac(pre_dithered_color_16.r_16),
        //         rgbw_16_int(pre_dithered_color_16.g_16), rgbw_16_frac(pre_dithered_color_16.g_16),
        //         rgbw_16_int(pre_dithered_color_16.b_16), rgbw_16_frac(pre_dithered_color_16.b_16),
        //         rgbw_16_int(pre_dithered_color_16.w_16), rgbw_16_frac(pre_dithered_color_16.w_16));
        LOG_INF("Output color: R=%d, G=%d, B=%d, W=%d", dithered_color.r, dithered_color.g, dithered_color.b, dithered_color.w);
    }

	rc = rgbw_strip_update_rgbw(strip, pixels, STRIP_NUM_PIXELS);

	if (rc)
	{
		LOG_ERR("Couldn't update strip: %d", rc);
	}
}
```

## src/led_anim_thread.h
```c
#ifndef LED_ANIM_H
#define LED_ANIM_H

#include <rgbw_strip.h>

#define LED_PARAM_COLOR         BIT(0)
#define LED_PARAM_BRIGHTNESS  BIT(1)
#define LED_PARAM_DURATION    BIT(2)

typedef enum led_command
{
    NONE,
    SET,
    FADE,
} led_command;

/**
 * @brief Color structure using HSV color model; [0-255] range for each component
 */
typedef struct led_hsv {
    uint8_t h;
    uint8_t s;
    uint8_t v;
} led_hsv;

/**
 * @brief Message structure for LED animation message queue
 * @param params Bitmasked flag variable to signal which color parameters are to be updated; see LED_PARAM_* defines
 * @param command Transition to specified new values
 * @param new_brightness New master brightness value; only updated if LED_PARAM_BRIGHTNESS bit is set in params
 * @param duration Duration of transition in ms; only updated if LED_PARAM_DURATION bit is set in params
 * @param new_hsv New HSV color values; only updated if LED_PARAM_COLOR bit is set in params (currently unused)
 * @param new_rgbw New RGBW color values; only updated if LED_PARAM_COLOR bit is set in params
 */
typedef struct led_msg
{
    uint8_t params;
    led_command command;
    uint8_t new_brightness;
    uint32_t duration;

    union {
        led_hsv new_hsv;
        led_rgbw new_rgbw;
    };
} led_msg;

/**
 * @brief Thread entry function for LED animation
 */
void led_anim_thread(void *arg1, void *arg2, void *arg3);

/**
 * @brief Converts an HSV color to RGBW format
 * @param rgbw Pointer to dest RGBW color structure
 * @param hsv Pointer to src HSV color structure
 */
void hsv2rgb(led_rgbw *rgbw, const led_hsv *hsv);
#endif /* LED_ANIM_H */
```

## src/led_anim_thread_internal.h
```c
#ifndef LED_ANIM_THREAD_INTERNAL_H
#define LED_ANIM_THREAD_INTERNAL_H

#include "led_anim_thread.h"

#define FRAME_MS 16 // 60fps = 16.67ms
#define DITHER_THRESHOLD 30 // Threshold below which dithering is applied

extern bool dither_enabled;

typedef enum dither_state
{
    STATIC,
    DITHERING,
} dither_state;

typedef struct led_rgbw_16 {
    uint16_t r_16;
    uint16_t g_16;
    uint16_t b_16;
    uint16_t w_16;
} led_rgbw_16;

/**
 * @brief Scales an 8-bit RGBW color base color by given brightness level; stores result in intermediary 16-bit color structure
 * @param scaled_color Pointer to 16-bit scaled color structure
 * @param color Pointer to 8-bit base color structure
 * @param brightness Brightness scale; [0-255] range 
 */
static inline void scale_brightness_16(led_rgbw_16 *scaled_color, const led_rgbw *color, const uint8_t brightness);

/**
 * @brief Applies gamma correction to a 16-bit RGBW color
 * @param corrected_color Pointer to dest corrected color structure
 * @param color Pointer to src color structure
 */
static inline void gamma_correct_16(led_rgbw_16 *corrected_color, const led_rgbw_16 *color);

/**
 * @brief Converts an RGB color to RGBW format by extracting the white component
 * @param rgb Pointer to src RGB color structure (white component ignored)
 * @param rgbw Pointer to dest RGBW color structure (white component extracted from RGB values)
 */
static void rgb2rgbw(const led_rgbw *rgb, led_rgbw *rgbw);

/**
 * @brief Sets the current color immediately
 * @param new_color Pointer to new color
 */
// static inline void set_color_rgbw_16(const led_rgbw_16 *new_color)
// {
//     memcpy(&pre_dithered_color, new_color, sizeof(led_rgbw));
// }

/**
 * @brief Updates the RGBW strip with the current color and brightness values
 */
static void update_rgbw_strip(void);


static inline uint8_t rgbw_16_int(const uint16_t rgbw_16)
{
    return (uint8_t)((rgbw_16 >> 8) & 0xFF);
}

static inline uint8_t rgbw_16_frac(const uint16_t rgbw_16)
{
    return (uint8_t)((rgbw_16 & 0xFF));
}

#endif // LED_ANIM_THREAD_INTERNAL_H
```

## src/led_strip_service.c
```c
#include <zephyr/types.h>
#include <stddef.h>
#include <string.h>
#include <errno.h>
#include <zephyr/sys/printk.h>
#include <zephyr/sys/byteorder.h>
#include <zephyr/kernel.h>

#include <zephyr/bluetooth/bluetooth.h>
#include <zephyr/bluetooth/hci.h>
#include <zephyr/bluetooth/conn.h>
#include <zephyr/bluetooth/uuid.h>
#include <zephyr/bluetooth/gatt.h>

#include <rgbw_strip.h>

#include "led_strip_service.h"

#include <zephyr/logging/log.h>
LOG_MODULE_REGISTER(led_strip_service);

static struct led_rgbw color;
static uint32_t duration;
static uint8_t brightness;
static struct my_lss_cb lss_cb;

static ssize_t fade_color(struct bt_conn *conn,
					     const struct bt_gatt_attr *attr,
					     const void *buf,
                         uint16_t len,
					     uint16_t offset,
                         uint8_t flags)
{
	LOG_DBG("Attribute write color, handle: %u, conn: %p", attr->handle, (void *)conn);

	if (len != 8U) {
		LOG_ERR("Write color: Incorrect data length; receieed length: %u", len);
		return BT_GATT_ERR(BT_ATT_ERR_INVALID_ATTRIBUTE_LEN);
	}

	if (offset != 0) {
		LOG_ERR("Write color: Incorrect data offset, received offset: %u", offset);
		return BT_GATT_ERR(BT_ATT_ERR_INVALID_OFFSET);
	}

	// struct led_rgbw color;
	// uint8_t 
	if (lss_cb.fade_cb) {
		const uint8_t* data = (const uint8_t*)buf;
		duration = (
					((uint32_t)data[0] << 24) |
					((uint32_t)data[1] << 16) |
					((uint32_t)data[2] << 8) |
					((uint32_t)data[3]));
		color.r = data[4];
        color.g = data[5];
        color.b = data[6];
        color.w = data[7];

		LOG_INF("Received color values: R=%u, G=%u, B=%u, W=%u, duration: %ums",
			color.r,
			color.g,
			color.b,
			color.w,
        duration);

		lss_cb.fade_cb(&color, duration);
	}


	return len;
}

static ssize_t write_color(struct bt_conn *conn,
					     const struct bt_gatt_attr *attr,
					     const void *buf,
                         uint16_t len,
					     uint16_t offset,
                         uint8_t flags)
{
	LOG_DBG("Attribute write color, handle: %u, conn: %p", attr->handle, (void *)conn);

	if (len != 4U) {
		LOG_ERR("Write color: Incorrect data length");
		return BT_GATT_ERR(BT_ATT_ERR_INVALID_ATTRIBUTE_LEN);
	}

	if (offset != 0) {
		LOG_ERR("Write color: Incorrect data offset");
		return BT_GATT_ERR(BT_ATT_ERR_INVALID_OFFSET);
	}

	if (lss_cb.color_cb) {
		// Read the received value
		struct led_rgbw color;
		const uint8_t* data = (const uint8_t*)buf;
		color.r = data[0];
		color.g = data[1];
		color.b = data[2];
		color.w = data[3];
		LOG_INF("Received color values: R=%u, G=%u, B=%u, W=%u",
			color.r,
			color.g,
			color.b,
			color.w);
        lss_cb.color_cb(&color);
	}

	return len;
}

static ssize_t write_brightness(struct bt_conn *conn,
					     const struct bt_gatt_attr *attr,
					     const void *buf,
                         uint16_t len,
					     uint16_t offset,
                         uint8_t flags)
{
	LOG_DBG("Attribute write brightness, handle: %u, conn: %p", attr->handle, (void *)conn);
    LOG_INF("Received brightness value: %u", *(uint8_t*)buf);
    
	if (len != 1U) {
		LOG_ERR("Write brightness: Incorrect data length");
		return BT_GATT_ERR(BT_ATT_ERR_INVALID_ATTRIBUTE_LEN);
	}

	if (offset != 0) {
		LOG_ERR("Write brightness: Incorrect data offset");
		return BT_GATT_ERR(BT_ATT_ERR_INVALID_OFFSET);
	}

	if (lss_cb.brightness_cb) {
		// Read the received value
        uint8_t brightness = *(uint8_t*)(buf) & 0xFF;
        lss_cb.brightness_cb(&brightness);
	}

	return len;
}

BT_GATT_SERVICE_DEFINE(led_strip_service, BT_GATT_PRIMARY_SERVICE(BT_UUID_LSS),
    BT_GATT_CHARACTERISTIC( BT_UUID_LSS_FADE,
                            BT_GATT_CHRC_WRITE,
                            BT_GATT_PERM_WRITE,
                            NULL,
                            fade_color,
                            &color),
    BT_GATT_CHARACTERISTIC( BT_UUID_LSS_COLOR,
                            BT_GATT_CHRC_WRITE,
                            BT_GATT_PERM_WRITE,
                            NULL,
                            write_color,
                            &color),
    BT_GATT_CHARACTERISTIC( BT_UUID_LSS_BRIGHTNESS,
                            BT_GATT_CHRC_WRITE,
                            BT_GATT_PERM_WRITE, 
                            NULL, 
                            write_brightness, 
                            &brightness),
);

/* A function to register application callbacks for the color and brightness characteristics  */
int my_lss_init(struct my_lss_cb *callbacks)
{
	if (callbacks) {
		lss_cb.fade_cb = callbacks->fade_cb;
		lss_cb.color_cb = callbacks->color_cb;
		lss_cb.brightness_cb = callbacks->brightness_cb;
	}
	return 0;
}
```

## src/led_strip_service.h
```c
#ifndef BT_LSS_H_
#define BT_LSS_H_

/**@file
 * @defgroup bt_lbs LED Strip Service API
 * @{
 * @brief API for the LED Strip Service (LSS).
 */

#ifdef __cplusplus
extern "C" {
#endif

#include <zephyr/types.h>
#include <rgbw_strip.h>
#include <errno.h>

// Base UUID: xxxxxxxx-665a-46ec-a6eb-36715013ce98 (randomly generated)

/** @brief LSS Service UUID. */
#define BT_UUID_LSS_VAL BT_UUID_128_ENCODE(0x00000000, 0x665a, 0x46ec, 0xa6eb, 0x36715013ce98)

/** @brief LED Color Characteristic UUID. */
#define BT_UUID_LSS_COLOR_VAL BT_UUID_128_ENCODE(0x00000001, 0x665a, 0x46ec, 0xa6eb, 0x36715013ce98)

/** @brief LED Brightness Characteristic UUID. */
#define BT_UUID_LSS_BRIGHTNESS_VAL BT_UUID_128_ENCODE(0x00000002, 0x665a, 0x46ec, 0xa6eb, 0x36715013ce98)

/** @brief LED Brightness Characteristic UUID. */
#define BT_UUID_LSS_FADE_VAL BT_UUID_128_ENCODE(0x00000003, 0x665a, 0x46ec, 0xa6eb, 0x36715013ce98)

#define BT_UUID_LSS BT_UUID_DECLARE_128(BT_UUID_LSS_VAL)
#define BT_UUID_LSS_COLOR BT_UUID_DECLARE_128(BT_UUID_LSS_COLOR_VAL)
#define BT_UUID_LSS_BRIGHTNESS BT_UUID_DECLARE_128(BT_UUID_LSS_BRIGHTNESS_VAL)
#define BT_UUID_LSS_FADE BT_UUID_DECLARE_128(BT_UUID_LSS_FADE_VAL)

/** @brief Callback type for when the application wants to fade the color. */
typedef void (*fade_cb_t)(const led_rgbw *color, uint32_t duration);

/** @brief Callback type for when the application wants to change color. */
typedef void (*color_cb_t)(const led_rgbw *color);

/** @brief Callback type for when the application wants to change brightness. */
typedef void (*brightness_cb_t)(const uint8_t *brightness);

/** @brief Application callback struct */
struct my_lss_cb {
	fade_cb_t fade_cb;                // Fade color callback
	color_cb_t color_cb;            // Color change callback
	brightness_cb_t brightness_cb;  // Brightness change callback
};

/** @brief Initialize the LSS Service.
 *
 * This function registers application callback functions with the LED Strip
 * Service
 *
 * @param[in] callbacks Struct containing pointers to callback functions
 *			used by the service. This pointer can be NULL
 *			if no callback functions are defined.
 *
 *
 * @retval 0 If the operation was successful.
 *           Otherwise, a (negative) error code is returned.
 */
int my_lss_init(struct my_lss_cb *callbacks);

#ifdef __cplusplus
}
#endif

#endif // BT_LSS_H_
```
